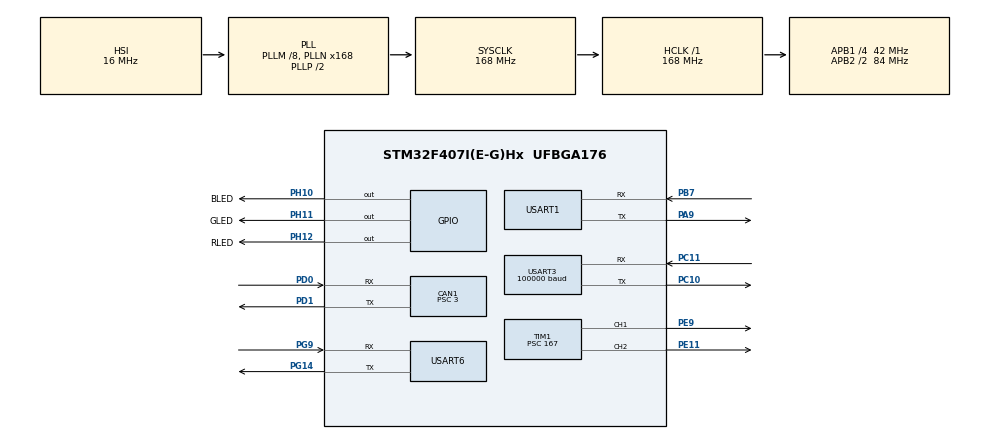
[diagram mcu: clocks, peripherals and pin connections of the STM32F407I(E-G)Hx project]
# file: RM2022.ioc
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CAN1.BS1=CAN_BS1_10TQ
CAN1.BS2=CAN_BS2_3TQ
CAN1.CalculateBaudRate=1000000
CAN1.CalculateTimeBit=999.99
CAN1.CalculateTimeQuantum=71.42857142857143
CAN1.Prescaler=3
Dma.MEMTOMEM.2.Direction=DMA_MEMORY_TO_MEMORY
Dma.MEMTOMEM.2.FIFOMode=DMA_FIFOMODE_ENABLE
Dma.MEMTOMEM.2.FIFOThreshold=DMA_FIFO_THRESHOLD_FULL
Dma.MEMTOMEM.2.Instance=DMA2_Stream0
Dma.MEMTOMEM.2.MemBurst=DMA_MBURST_SINGLE
Dma.MEMTOMEM.2.MemDataAlignment=DMA_MDATAALIGN_BYTE
Dma.MEMTOMEM.2.MemInc=DMA_MINC_ENABLE
Dma.MEMTOMEM.2.Mode=DMA_NORMAL
Dma.MEMTOMEM.2.PeriphBurst=DMA_PBURST_SINGLE
Dma.MEMTOMEM.2.PeriphDataAlignment=DMA_PDATAALIGN_BYTE
Dma.MEMTOMEM.2.PeriphInc=DMA_PINC_DISABLE
Dma.MEMTOMEM.2.Priority=DMA_PRIORITY_LOW
Dma.Request0=USART6_RX
Dma.Request1=USART6_TX
Dma.Request2=MEMTOMEM
Dma.Request3=USART3_RX
Dma.USART3_RX.3.Direction=DMA_PERIPH_TO_MEMORY
Dma.USART3_RX.3.FIFOMode=DMA_FIFOMODE_DISABLE
Dma.USART3_RX.3.Instance=DMA1_Stream1
Dma.USART3_RX.3.MemDataAlignment=DMA_MDATAALIGN_BYTE
Dma.USART3_RX.3.MemInc=DMA_MINC_ENABLE
Dma.USART3_RX.3.Mode=DMA_NORMAL
Dma.USART3_RX.3.PeriphDataAlignment=DMA_PDATAALIGN_BYTE
Dma.USART3_RX.3.PeriphInc=DMA_PINC_DISABLE
Dma.USART3_RX.3.Priority=DMA_PRIORITY_HIGH
Dma.USART6_RX.0.Direction=DMA_PERIPH_TO_MEMORY
Dma.USART6_RX.0.FIFOMode=DMA_FIFOMODE_DISABLE
Dma.USART6_RX.0.Instance=DMA2_Stream1
Dma.USART6_RX.0.MemDataAlignment=DMA_MDATAALIGN_BYTE
Dma.USART6_RX.0.MemInc=DMA_MINC_ENABLE
Dma.USART6_RX.0.Mode=DMA_NORMAL
Dma.USART6_RX.0.PeriphDataAlignment=DMA_PDATAALIGN_BYTE
Dma.USART6_RX.0.PeriphInc=DMA_PINC_DISABLE
Dma.USART6_RX.0.Priority=DMA_PRIORITY_MEDIUM
Dma.USART6_TX.1.Direction=DMA_MEMORY_TO_PERIPH
Dma.USART6_TX.1.FIFOMode=DMA_FIFOMODE_DISABLE
Dma.USART6_TX.1.Instance=DMA2_Stream6
Dma.USART6_TX.1.MemDataAlignment=DMA_MDATAALIGN_BYTE
Dma.USART6_TX.1.MemInc=DMA_MINC_ENABLE
Dma.USART6_TX.1.Mode=DMA_NORMAL
Dma.USART6_TX.1.PeriphDataAlignment=DMA_PDATAALIGN_BYTE
Dma.USART6_TX.1.PeriphInc=DMA_PINC_DISABLE
Dma.USART6_TX.1.Priority=DMA_PRIORITY_MEDIUM
Mcu.Family=STM32F4
Mcu.Name=STM32F407I(E-G)Hx
Mcu.Package=UFBGA176
NVIC.CAN1_RX0_IRQn=true\:0\:0\:false\:false\:true\:true\:true
NVIC.DMA1_Stream1_IRQn=true\:0\:0\:false\:false\:true\:false\:true
NVIC.DMA2_Stream1_IRQn=true\:0\:0\:false\:false\:true\:false\:true
NVIC.DMA2_Stream6_IRQn=true\:0\:0\:false\:false\:true\:false\:true
NVIC.PriorityGroup=NVIC_PRIORITYGROUP_4
NVIC.TIM6_DAC_IRQn=true\:0\:0\:false\:false\:true\:true\:true
NVIC.USART1_IRQn=true\:0\:0\:false\:false\:true\:true\:true
NVIC.USART3_IRQn=true\:0\:0\:false\:false\:false\:true\:true
NVIC.USART6_IRQn=true\:0\:0\:false\:false\:true\:true\:true
PA13.Mode=Serial_Wire
PA13.Signal=SYS_JTMS-SWDIO
PA14.Mode=Serial_Wire
PA14.Signal=SYS_JTCK-SWCLK
PA9.Mode=Asynchronous
PA9.Signal=USART1_TX
PB7.Mode=Asynchronous
PB7.Signal=USART1_RX
PC10.Mode=Asynchronous
PC10.Signal=USART3_TX
PC11.Mode=Asynchronous
PC11.Signal=USART3_RX
PD0.Mode=CAN_Activate
PD0.Signal=CAN1_RX
PD1.Mode=CAN_Activate
PD1.Signal=CAN1_TX
PE11.Signal=S_TIM1_CH2
PE9.Signal=S_TIM1_CH1
PG14.Mode=Asynchronous
PG14.Signal=USART6_TX
PG9.Mode=Asynchronous
PG9.Signal=USART6_RX
PH0-OSC_IN.Mode=HSE-External-Oscillator
PH0-OSC_IN.Signal=RCC_OSC_IN
PH1-OSC_OUT.Mode=HSE-External-Oscillator
PH1-OSC_OUT.Signal=RCC_OSC_OUT
PH10.GPIO_Label=BLED
PH10.Signal=GPIO_Output
PH11.GPIO_Label=GLED
PH11.Signal=GPIO_Output
PH12.GPIO_Label=RLED
PH12.Signal=GPIO_Output
ProjectManager.HeapSize=0x200
ProjectManager.StackSize=0x400
ProjectManager.TargetToolchain=MDK-ARM V5.27
RCC.48MHZClocksFreq_Value=84000000
RCC.AHBFreq_Value=168000000
RCC.APB1CLKDivider=RCC_HCLK_DIV4
RCC.APB1Freq_Value=42000000
RCC.APB1TimFreq_Value=84000000
RCC.APB2CLKDivider=RCC_HCLK_DIV2
RCC.APB2Freq_Value=84000000
RCC.APB2TimFreq_Value=168000000
RCC.CortexFreq_Value=168000000
RCC.HCLKFreq_Value=168000000
RCC.HSE_VALUE=25000000
RCC.HSI_VALUE=16000000
RCC.LSE_VALUE=32768
RCC.PLLM=8
RCC.PLLN=168
RCC.SYSCLKFreq_VALUE=168000000
RCC.SYSCLKSource=RCC_SYSCLKSOURCE_PLLCLK
RCC.VCOOutputFreq_Value=336000000
SH.S_TIM1_CH1.0=TIM1_CH1,PWM Generation1 CH1
SH.S_TIM1_CH2.0=TIM1_CH2,PWM Generation2 CH2
TIM1.Channel-PWM\ Generation1\ CH1=TIM_CHANNEL_1
TIM1.Channel-PWM\ Generation2\ CH2=TIM_CHANNEL_2
TIM1.Period=19999
TIM1.Prescaler=167
TIM1.Pulse-PWM\ Generation1\ CH1=1000
TIM1.Pulse-PWM\ Generation2\ CH2=1000
TIM6.AutoReloadPreload=TIM_AUTORELOAD_PRELOAD_ENABLE
TIM6.Period=4999
TIM6.Prescaler=167
USART1.VirtualMode=VM_ASYNC
USART3.BaudRate=100000
USART3.VirtualMode=VM_ASYNC
USART6.VirtualMode=VM_ASYNC
VP_TIM1_VS_ClockSourceINT.Mode=Internal
VP_TIM6_VS_ClockSourceINT.Mode=Enable_Timer
board=custom

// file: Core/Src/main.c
/* USER CODE BEGIN Header */
/**
  ******************************************************************************
  * @file           : main.c
  * @brief          : Main program body
  ******************************************************************************
  * @attention
  *
  * <h2><center>&copy; Copyright (c) 2022 STMicroelectronics.
  * All rights reserved.</center></h2>
  *
  * This software component is licensed by ST under BSD 3-Clause license,
  * the "License"; You may not use this file except in compliance with the
  * License. You may obtain a copy of the License at:
  *                        opensource.org/licenses/BSD-3-Clause
  *
  ******************************************************************************
  */
/* USER CODE END Header */
#include "main.h"
#include "can.h"
#include "dma.h"
#include "tim.h"
#include "usart.h"
#include "gpio.h"

void SystemClock_Config(void);

/* USER CODE BEGIN 0 */
int snail_flag = 1;
/* USER CODE END 0 */

int main(void)
{

    /* MCU Configuration--------------------------------------------------------*/

    /* Reset of all peripherals, Initializes the Flash interface and the Systick. */
    HAL_Init();

    /* Configure the system clock */
    SystemClock_Config();

    /* Initialize all configured peripherals */
    MX_GPIO_Init();
    MX_DMA_Init();
    MX_CAN1_Init();
    MX_USART6_UART_Init();
    MX_USART1_UART_Init();
    MX_TIM6_Init();
    MX_USART3_UART_Init();
    MX_TIM1_Init();
    /* USER CODE BEGIN 2 */

    //遥控器
    remote_control_init();

    //自瞄,裁判系统开启
    Judge_Init_DMA();

    //PID初始化
    PID_3508_Init();
    PID_Gimbal_Init();
    PID_M2006_Init();

    //滤波初始化
    Gimbal_Kalman_Init();
    Kalman_3508_Init();

    //CAN开启
    can_filter_init();

    //任务运行
    HAL_TIM_Base_Start_IT(&htim6);

    //摩擦轮测试
    HAL_TIM_Base_Start(&htim1);
    HAL_TIM_PWM_Start(&htim1, TIM_CHANNEL_1);
    HAL_TIM_PWM_Start(&htim1, TIM_CHANNEL_2);
    //OFF fric
    __HAL_TIM_SetCompare(&htim1, TIM_CHANNEL_1, 1000);
    __HAL_TIM_SetCompare(&htim1, TIM_CHANNEL_2, 1000);
    HAL_Delay(100);
    while(rc_ctrl.rc.ch[3] < 600)//左y杆不动，右y杆向上打
    {
        __HAL_TIM_SetCompare(&htim1, TIM_CHANNEL_1, 2000);
        __HAL_TIM_SetCompare(&htim1, TIM_CHANNEL_2, 2000);
        if(rc_ctrl.rc.ch[1] > 600)
        {
            __HAL_TIM_SetCompare(&htim1, TIM_CHANNEL_1, 1000);
            __HAL_TIM_SetCompare(&htim1, TIM_CHANNEL_2, 1000);
            break;
        }
    }

    /* USER CODE END 2 */

    /* Infinite loop */
    while(1)
    {

        /* USER CODE BEGIN 3 */
        Fire_task(50);
        HAL_Delay(100);
    }
    /* USER CODE END 3 */
}

void SystemClock_Config(void)
{
    RCC_OscInitTypeDef RCC_OscInitStruct = {0};
    RCC_ClkInitTypeDef RCC_ClkInitStruct = {0};

    /** Configure the main internal regulator output voltage
    */
    __HAL_RCC_PWR_CLK_ENABLE();
    __HAL_PWR_VOLTAGESCALING_CONFIG(PWR_REGULATOR_VOLTAGE_SCALE1);
    /** Initializes the RCC Oscillators according to the specified parameters
    * in the RCC_OscInitTypeDef structure.
    */
    RCC_OscInitStruct.OscillatorType = RCC_OSCILLATORTYPE_HSI;
    RCC_OscInitStruct.HSIState = RCC_HSI_ON;
    RCC_OscInitStruct.HSICalibrationValue = RCC_HSICALIBRATION_DEFAULT;
    RCC_OscInitStruct.PLL.PLLState = RCC_PLL_ON;
    RCC_OscInitStruct.PLL.PLLSource = RCC_PLLSOURCE_HSI;
    RCC_OscInitStruct.PLL.PLLM = 8;
    RCC_OscInitStruct.PLL.PLLN = 168;
    RCC_OscInitStruct.PLL.PLLP = RCC_PLLP_DIV2;
    RCC_OscInitStruct.PLL.PLLQ = 4;
    if(HAL_RCC_OscConfig(&RCC_OscInitStruct) != HAL_OK)
    {
        Error_Handler();
    }
    /** Initializes the CPU, AHB and APB buses clocks
    */
    RCC_ClkInitStruct.ClockType = RCC_CLOCKTYPE_HCLK | RCC_CLOCKTYPE_SYSCLK
                                  | RCC_CLOCKTYPE_PCLK1 | RCC_CLOCKTYPE_PCLK2;
    RCC_ClkInitStruct.SYSCLKSource = RCC_SYSCLKSOURCE_PLLCLK;
    RCC_ClkInitStruct.AHBCLKDivider = RCC_SYSCLK_DIV1;
    RCC_ClkInitStruct.APB1CLKDivider = RCC_HCLK_DIV4;
    RCC_ClkInitStruct.APB2CLKDivider = RCC_HCLK_DIV2;

    if(HAL_RCC_ClockConfig(&RCC_ClkInitStruct, FLASH_LATENCY_5) != HAL_OK)
    {
        Error_Handler();
    }
}

/* USER CODE BEGIN 4 */

void HAL_TIM_PeriodElapsedCallback(TIM_HandleTypeDef* htim)
{
    static int TaskLab = 0;

    if(htim == (&htim6))
    {
        TaskLab ++;

        /* Task 1     10ms*/
        if(TaskLab % 2 == 0)
        {
            if(rc_ctrl.rc.s[0] == RC_SW_UP)
            {
//                Shoot_task();
//                Fire_task(65);
                Gimbal_Task(GimbalRealBuf);
                CAN_cmd_gimbal(Gimbal_control.Yaw_Send, Gimbal_control.Pitch_Send, 0, 0); //电机赋值
                Chassis_task();
            }
            if(rc_ctrl.rc.s[0] == RC_SW_MID)
            {
                Fire_task(65);
                Gimbal_RC_Task();
                Shoot_control.M2006_SEND = PID_calc(&Shoot_control.shoot_speed_pid, TRIGGER_DATA.speed, -1000);
                CAN_cmd_gimbal(Gimbal_control.Yaw_Send, Gimbal_control.Pitch_Send, Shoot_control.M2006_SEND, 0);
                Chassis_RC_Task();
            }
            if(rc_ctrl.rc.s[0] == RC_SW_DOWN)
            {
                PID_clear(&Gimbal_control.vison_angle_pid);
                PID_clear(&Gimbal_control.yaw_angle_pid);
                PID_clear(&Gimbal_control.yaw_speed_pid);
                PID_clear(&Gimbal_control.pitch_angle_pid);
                PID_clear(&Gimbal_control.pitch_speed_pid);
                CAN_cmd_gimbal(0, 0, 0, 0);
                CAN_cmd_chassis(0, 0, 0, 0);
            }
        }

        /* Task 2    500ms*/
        if(TaskLab % 100 == 0) //
        {
            HAL_GPIO_TogglePin(BLED_GPIO_Port, BLED_Pin);

            TaskLab = 0;
        }
    }
}

/* USER CODE END 4 */

void Error_Handler(void)
{
    __disable_irq();
    while(1)
    {
    }
}

/************************ (C) COPYRIGHT STMicroelectronics *****END OF FILE****/
